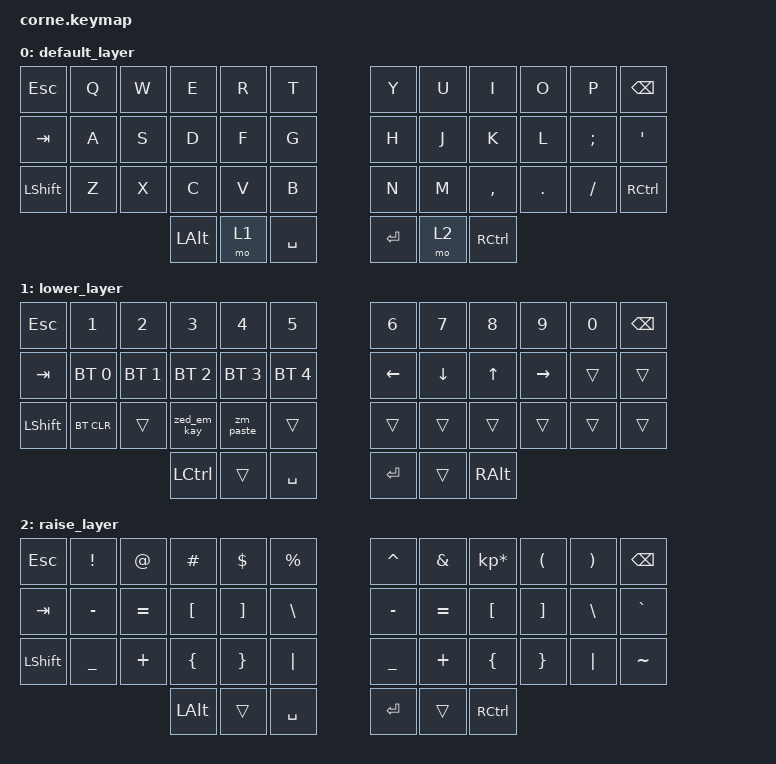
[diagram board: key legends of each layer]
/*
 * Copyright (c) 2020 The ZMK Contributors
 *
 * SPDX-License-Identifier: MIT
 */

#include <behaviors.dtsi>
#include <dt-bindings/zmk/keys.h>
#include <dt-bindings/zmk/bt.h>

/ {
    macros {
        zed_em_kay: zed_em_kay {
            label = "ZM_zed_em_kay";
            compatible = "zmk,behavior-macro";
            #binding-cells = <0>;
            bindings
                = <&macro_press &kp LCTL>
                , <&macro_tap &kp C>
                , <&macro_release &kp LCTL>
                ;
        };

        zm_paste: zm_paste {
            label = "ZM_paste";
            compatible = "zmk,behavior-macro";
            #binding-cells = <0>;
            bindings
                = <&macro_press &kp LCTL>
                , <&macro_tap &kp V>
                , <&macro_release &kp LCTL>
                ;
        };

        alt_tab: alt_tab {
            label = "ZM_alt_tab";
            compatible = "zmk,behavior-macro";
            #binding-cells = <0>;
            bindings
                = <&macro_press &kp LALT>
                , <&macro_tap &kp TAB>
                , <&macro_release &kp LALT>
                ;
        };
    };
};
    
/ {
        keymap {
                compatible = "zmk,keymap";

                default_layer {
// -----------------------------------------------------------------------------------------
// |  ESC |  Q  |  W  |  E  |  R  |  T  |   |  Y  |  U   |  I  |  O  |  P  | BKSP |
// | CTRL |  A  |  S  |  D  |  F  |  G  |   |  H  |  J   |  K  |  L  |  ;  |  '   |
// | SHFT |  Z  |  X  |  C  |  V  |  B  |   |  N  |  M   |  ,  |  .  |  /  | ESC  |
//                    | GUI | LWR | SPC |   | ENT | RSE  | ALT |
                        bindings = <
   &kp ESC   &kp Q &kp W &kp E &kp R &kp T   &kp Y &kp U  &kp I     &kp O   &kp P    &kp BSPC
   &kp TAB   &kp A &kp S &kp D &kp F &kp G   &kp H &kp J  &kp K     &kp L   &kp SEMI &kp SQT
   &kp LSHFT &kp Z &kp X &kp C &kp V &kp B   &kp N &kp M  &kp COMMA &kp DOT &kp FSLH &kp RCTRL
                  &kp LALT &mo 1 &kp SPACE   &kp RET &mo 2 &kp RCTRL
                        >;
                };
         
                
                lower_layer {
// -----------------------------------------------------------------------------------------
// |  TAB |  1  |  2  |  3  |  4  |  5  |   |  6  |  7  |  8  |  9  |  0  | BKSP |
// | BTCLR| BT1 | BT2 | BT3 | BT4 | BT5 |   | LFT | DWN |  UP | RGT |     |      |
// | SHFT |     |     |     |     |     |   |     |     |     |     |     |      |
//                    | GUI |     | SPC |   | ENT |     | ALT |
                        bindings = <
   &kp ESC    &kp N1       &kp N2       &kp N3       &kp N4       &kp N5         &kp N6   &kp N7   &kp N8 &kp N9    &kp N0 &kp BSPC
   &kp TAB    &bt BT_SEL 0 &bt BT_SEL 1 &bt BT_SEL 2 &bt BT_SEL 3 &bt BT_SEL 4   &kp LEFT &kp DOWN &kp UP &kp RIGHT &trans &trans
   &kp LSHFT  &bt BT_CLR   &trans       &zed_em_kay  &zm_paste    &trans         &trans   &trans   &trans &trans    &trans &trans  
                          	            &kp LCTRL    &trans    &kp SPACE         &kp RET  &trans   &kp RALT
                        >;
                };

                raise_layer {
// -----------------------------------------------------------------------------------------
// |  TAB |  !  |  @  |  #  |  $  |  %  |   |  ^  |  &  |  *  |  (  |  )  | BKSP |
// | CTRL |     |     |     |     |     |   |  -  |  =  |  [  |  ]  |  \  |  `   |
// | SHFT |     |     |     |     |     |   |  _  |  +  |  {  |  }  | "|" |  ~   |
//                    | GUI |     | SPC |   | ENT |     | ALT |
                        bindings = <
   &kp ESC   &kp EXCL  &kp AT    &kp HASH  &kp DLLR &kp PRCNT     &kp CARET &kp AMPS  &kp KP_MULTIPLY &kp LPAR &kp RPAR &kp BSPC
   &kp TAB   &kp MINUS &kp EQUAL &kp LBKT  &kp RBKT &kp BSLH      &kp MINUS &kp EQUAL &kp LBKT        &kp RBKT &kp BSLH &kp GRAVE
   &kp LSHFT &kp UNDER &kp PLUS  &kp LBRC  &kp RBRC &kp PIPE      &kp UNDER &kp PLUS  &kp LBRC        &kp RBRC &kp PIPE &kp TILDE
                    	     &kp LALT &trans   &kp SPACE   &kp RET   &trans    &kp RCTRL
                        >;
                };
        };
};
